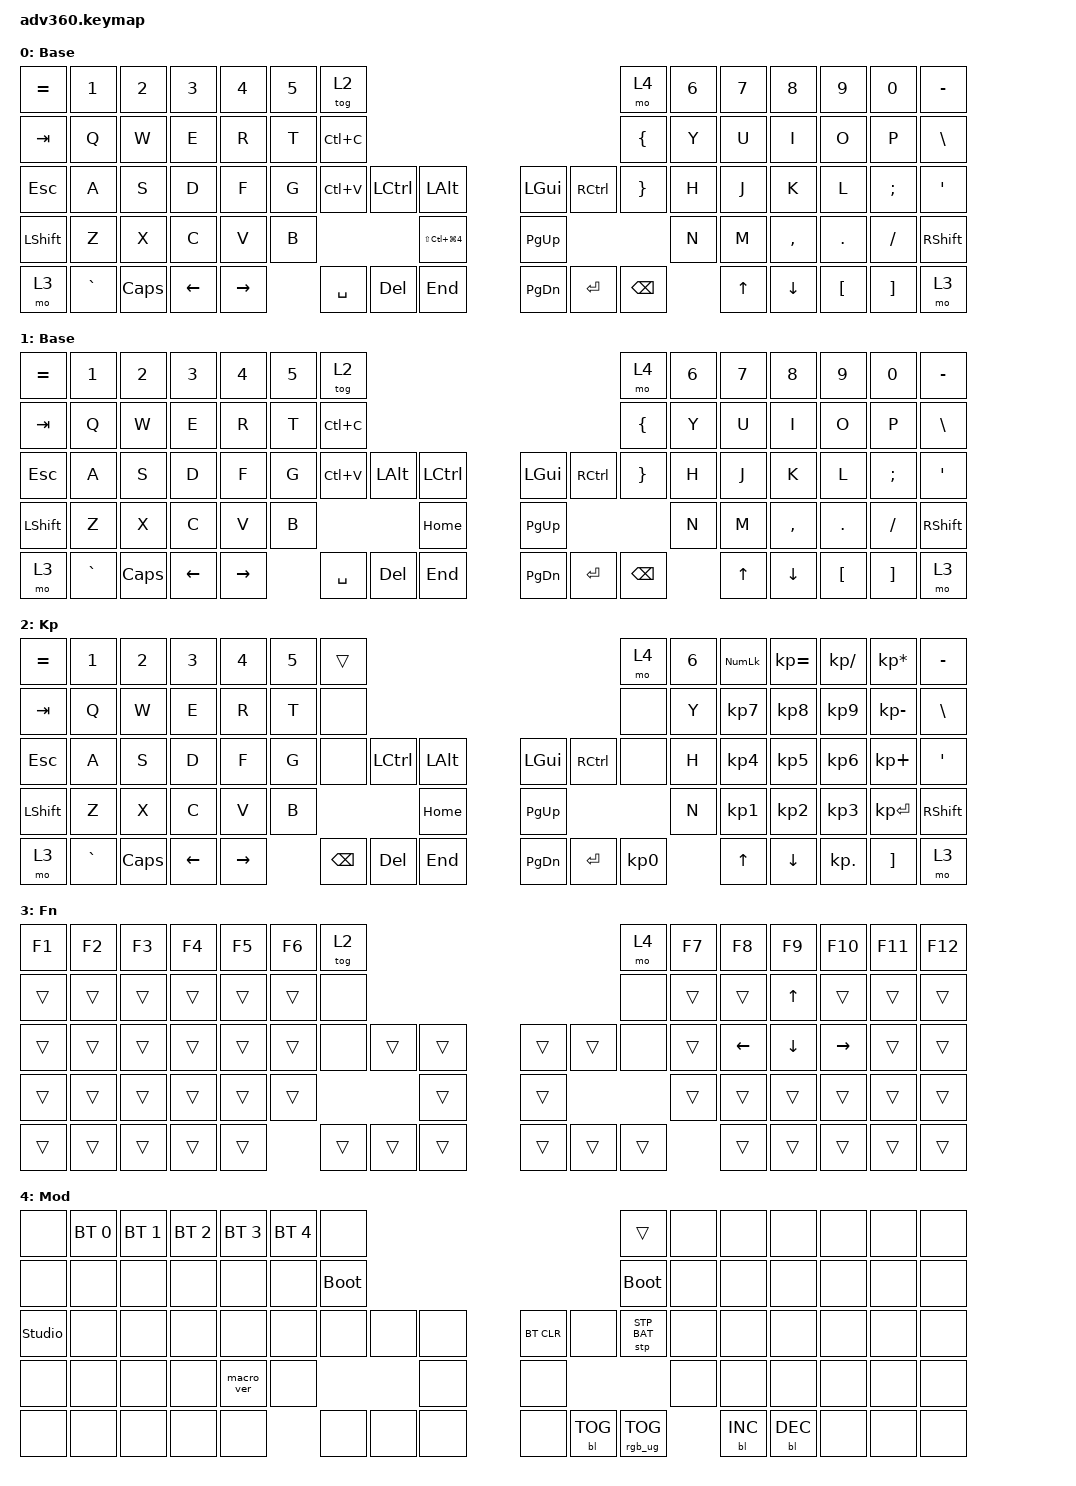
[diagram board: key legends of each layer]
#include <dt-bindings/zmk/stp.h>
#include <behaviors.dtsi>
#include <dt-bindings/zmk/backlight.h>
#include <dt-bindings/zmk/bt.h>
#include <dt-bindings/zmk/keys.h>
#include <dt-bindings/zmk/rgb.h>

/ {
    behaviors {
        #include "macros.dtsi"
      #include "version.dtsi"

        hm: homerow_mods {
            compatible = "zmk,behavior-hold-tap";
            label = "HOMEROW_MODS";
            #binding-cells = <2>;
            tapping-term-ms = <200>;
            quick_tap_ms = <175>;
            flavor = "tap-preferred";
            bindings = <&kp>, <&kp>;
        };

        o_brace: o_brace {
            compatible = "zmk,behavior-mod-morph";
            label = "O_BRACE";
            bindings = <&kp O>, <&kp LEFT_BRACE>;

            #binding-cells = <0>;
            mods = <(MOD_LSFT|MOD_RSFT)>;
        };

        p_brace: p_brace {
            compatible = "zmk,behavior-mod-morph";
            label = "P_BRACE";
            bindings = <&kp P>, <&kp RIGHT_BRACE>;

            #binding-cells = <0>;
            mods = <(MOD_LSFT|MOD_RSFT)>;
        };
    };

    keymap {
        compatible = "zmk,keymap";

        macbook {
            display-name = "Base";
            bindings = <
&kp EQUAL  &kp N1     &kp N2    &kp N3    &kp N4     &kp N5  &tog 2                                                              &mo 4            &kp N6  &kp N7  &kp N8     &kp N9    &kp N0    &kp MINUS
&kp TAB    &kp Q      &kp W     &kp E     &kp R      &kp T   &kp LC(C)                                                           &kp LEFT_BRACE   &kp Y   &kp U   &kp I      &kp O     &kp P     &kp BSLH
&kp ESC    &kp A      &kp S     &kp D     &kp F      &kp G   &kp LC(V)  &kp LCTRL  &kp LALT                &kp LGUI   &kp RCTRL  &kp RIGHT_BRACE  &kp H   &kp J   &kp K      &kp L     &kp SEMI  &kp SQT
&kp LSHFT  &kp Z      &kp X     &kp C     &kp V      &kp B                         &kp LS(LC(LG(N4)))      &kp PG_UP                              &kp N   &kp M   &kp COMMA  &kp DOT   &kp FSLH  &kp RSHFT
&mo 3      &kp GRAVE  &kp CAPS  &kp LEFT  &kp RIGHT          &kp SPACE  &kp DEL    &kp END                 &kp PG_DN  &kp ENTER  &kp BACKSPACE            &kp UP  &kp DOWN   &kp LBKT  &kp RBKT  &mo 3
            >;
        };

        windows {
            display-name = "Base";
            bindings = <
&kp EQUAL  &kp N1     &kp N2    &kp N3    &kp N4     &kp N5  &tog 2                                                        &mo 4            &kp N6  &kp N7  &kp N8     &kp N9    &kp N0    &kp MINUS
&kp TAB    &kp Q      &kp W     &kp E     &kp R      &kp T   &kp LC(C)                                                     &kp LEFT_BRACE   &kp Y   &kp U   &kp I      &kp O     &kp P     &kp BSLH
&kp ESC    &kp A      &kp S     &kp D     &kp F      &kp G   &kp LC(V)  &kp LEFT_ALT  &kp LCTRL      &kp LGUI   &kp RCTRL  &kp RIGHT_BRACE  &kp H   &kp J   &kp K      &kp L     &kp SEMI  &kp SQT
&kp LSHFT  &kp Z      &kp X     &kp C     &kp V      &kp B                            &kp HOME       &kp PG_UP                              &kp N   &kp M   &kp COMMA  &kp DOT   &kp FSLH  &kp RSHFT
&mo 3      &kp GRAVE  &kp CAPS  &kp LEFT  &kp RIGHT          &kp SPACE  &kp DEL       &kp END        &kp PG_DN  &kp ENTER  &kp BACKSPACE            &kp UP  &kp DOWN   &kp LBKT  &kp RBKT  &mo 3
            >;
        };

        keypad {
            display-name = "Kp";
            bindings = <
&kp EQUAL  &kp N1     &kp N2    &kp N3    &kp N4     &kp N5  &trans                                                   &mo 4      &kp N6  &kp KP_NUM  &kp KP_EQUAL  &kp KP_DIVIDE  &kp KP_MULTIPLY  &kp MINUS
&kp TAB    &kp Q      &kp W     &kp E     &kp R      &kp T   &none                                                    &none      &kp Y   &kp KP_N7   &kp KP_N8     &kp KP_N9      &kp KP_MINUS     &kp BSLH
&kp ESC    &kp A      &kp S     &kp D     &kp F      &kp G   &none     &kp LCTRL  &kp LALT      &kp LGUI   &kp RCTRL  &none      &kp H   &kp KP_N4   &kp KP_N5     &kp KP_N6      &kp KP_PLUS      &kp SQT
&kp LSHFT  &kp Z      &kp X     &kp C     &kp V      &kp B                        &kp HOME      &kp PG_UP                        &kp N   &kp KP_N1   &kp KP_N2     &kp KP_N3      &kp KP_ENTER     &kp RSHFT
&mo 3      &kp GRAVE  &kp CAPS  &kp LEFT  &kp RIGHT          &kp BSPC  &kp DEL    &kp END       &kp PG_DN  &kp ENTER  &kp KP_N0          &kp UP      &kp DOWN      &kp KP_DOT     &kp RBKT         &mo 3
            >;
        };

        fn {
            display-name = "Fn";
            bindings = <
&kp F1  &kp F2  &kp F3  &kp F4  &kp F5  &kp F6  &tog 2                                      &mo 4   &kp F7  &kp F8          &kp F9          &kp F10          &kp F11  &kp F12
&trans  &trans  &trans  &trans  &trans  &trans  &none                                       &none   &trans  &trans          &kp UP_ARROW    &trans           &trans   &trans
&trans  &trans  &trans  &trans  &trans  &trans  &none   &trans  &trans      &trans  &trans  &none   &trans  &kp LEFT_ARROW  &kp DOWN_ARROW  &kp RIGHT_ARROW  &trans   &trans
&trans  &trans  &trans  &trans  &trans  &trans                  &trans      &trans                  &trans  &trans          &trans          &trans           &trans   &trans
&trans  &trans  &trans  &trans  &trans          &trans  &trans  &trans      &trans  &trans  &trans          &trans          &trans          &trans           &trans   &trans
            >;
        };

        mod {
            display-name = "Mod";
            bindings = <
&none           &bt BT_SEL 0  &bt BT_SEL 1  &bt BT_SEL 2  &bt BT_SEL 3  &bt BT_SEL 4  &none                                                  &trans           &none  &none       &none       &none  &none  &none
&none           &none         &none         &none         &none         &none         &bootloader                                            &bootloader      &none  &none       &none       &none  &none  &none
&studio_unlock  &none         &none         &none         &none         &none         &none        &none  &none      &bt BT_CLR  &none       &stp STP_BAT     &none  &none       &none       &none  &none  &none
&none           &none         &none         &none         &macro_ver    &none                             &none      &none                                    &none  &none       &none       &none  &none  &none
&none           &none         &none         &none         &none                       &none        &none  &none      &none       &bl BL_TOG  &rgb_ug RGB_TOG         &bl BL_INC  &bl BL_DEC  &none  &none  &none
            >;
        };

        extra1 {
            display-name = "Red";
            status = "reserved";
        };

        extra2 {
            display-name = "Purple";
            status = "reserved";
        };

        extra3 {
            display-name = "Cyan";
            status = "reserved";
        };

        extra4 {
            display-name = "Yellow";
            status = "reserved";
        };
    };
};
